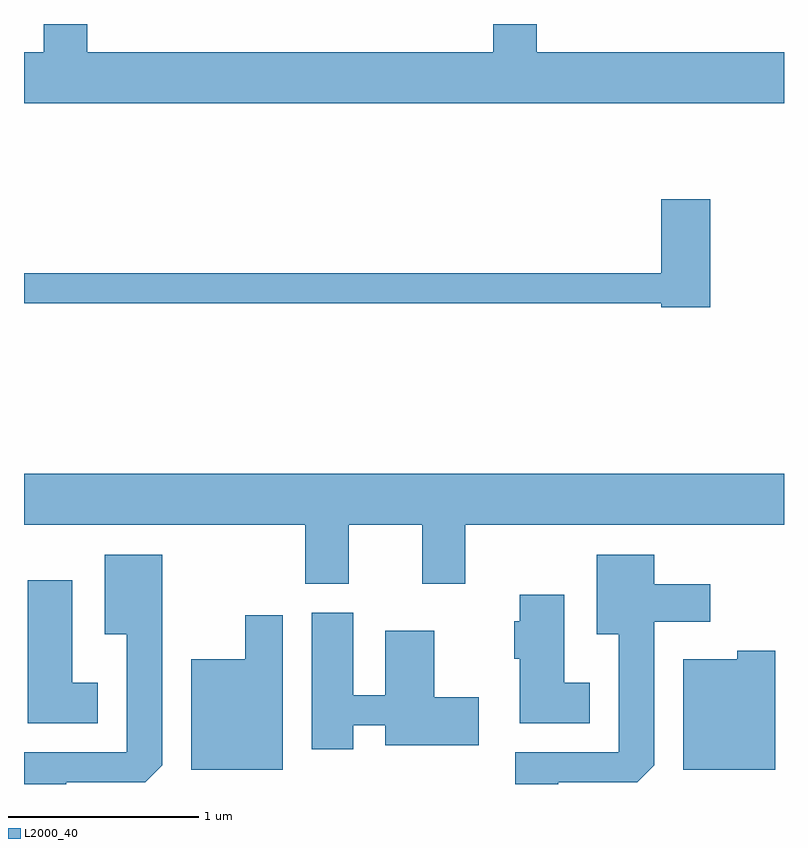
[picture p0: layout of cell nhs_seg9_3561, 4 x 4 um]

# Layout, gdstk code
import gdstk
lib = gdstk.Library(unit=1e-6, precision=1e-09)
def P(c, l, *ps):  # polygons
    for p in ps: c.add(gdstk.Polygon(p, *l))
L2000_40 = (2000, 40)

nhs_seg9_3561 = lib.new_cell('nhs_seg9_3561')
P(nhs_seg9_3561, L2000_40, [(293.611,2014.284),(292.309,2014.284),(292.309,2014.432),(292.081,2014.432),(292.081,2014.284),(289.944,2014.284),(289.944,2014.432),(289.716,2014.432),(289.716,2014.284),(289.611,2014.284),(289.611,2014.016),(293.611,2014.016)],
  [(293.224,2013.509),(292.966,2013.509),(292.966,2013.119),(289.611,2013.119),(289.611,2012.961),(292.966,2012.961),(292.966,2012.941),(293.224,2012.941)],
  [(291.319,2011.796),(291.706,2011.796),(291.706,2011.486),(291.934,2011.486),(291.934,2011.796),(293.611,2011.796),(293.611,2012.064),(289.611,2012.064),(289.611,2011.796),(291.091,2011.796),(291.091,2011.486),(291.319,2011.486)],
  [(292.424,2010.441),(292.839,2010.441),(292.929,2010.532),(292.929,2011.286),(293.224,2011.286),(293.224,2011.484),(292.929,2011.484),(292.929,2011.639),(292.626,2011.639),(292.626,2011.221),(292.741,2011.221),(292.741,2010.599),(292.196,2010.599),(292.196,2010.432),(292.424,2010.432)],
  [(289.834,2010.441),(290.249,2010.441),(290.339,2010.532),(290.339,2011.639),(290.036,2011.639),(290.036,2011.221),(290.151,2011.221),(290.151,2010.599),(289.611,2010.599),(289.611,2010.432),(289.834,2010.432)],
  [(289.999,2010.964),(289.864,2010.964),(289.864,2011.504),(289.631,2011.504),(289.631,2010.751),(289.999,2010.751)],
  [(292.589,2010.964),(292.454,2010.964),(292.454,2011.429),(292.221,2011.429),(292.221,2011.289),(292.191,2011.289),(292.191,2011.091),(292.221,2011.091),(292.221,2010.751),(292.589,2010.751)],
  [(291.344,2010.741),(291.511,2010.741),(291.511,2010.636),(292.004,2010.636),(292.004,2010.889),(291.769,2010.889),(291.769,2011.239),(291.511,2011.239),(291.511,2010.899),(291.344,2010.899),(291.344,2011.334),(291.126,2011.334),(291.126,2010.616),(291.344,2010.616)],
  [(290.974,2011.319),(290.776,2011.319),(290.776,2011.089),(290.491,2011.089),(290.491,2010.506),(290.974,2010.506)],
  [(293.564,2011.134),(293.366,2011.134),(293.366,2011.089),(293.081,2011.089),(293.081,2010.506),(293.564,2010.506)])

lib.write_gds('nhs_seg9_3561.gds')
